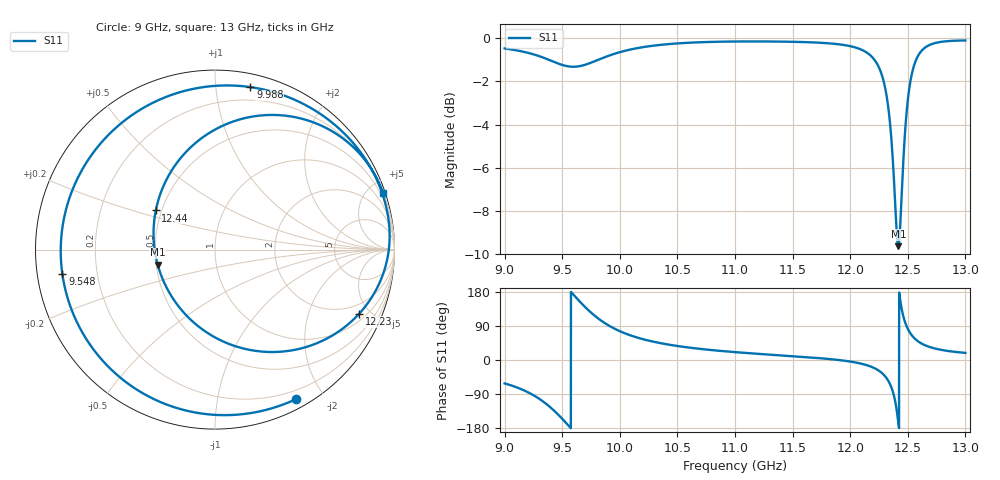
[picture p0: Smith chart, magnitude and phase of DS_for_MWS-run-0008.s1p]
! TOUCHSTONE file generated by CST DESIGN STUDIO
! Date and time: Tue Feb  4 17:47:23 2025
! Project name: C:\Work\MatlabApps\UnitCellOptimizationMatlab\CST\unitcell.cst
! Tree item: Tasks\Sweep1\SPara1\S-Parameters
! Header version: 2024
! Port assignment regex: !\s*Touchstone port\s*([0-9]+)\s*=\s*(CST MWS port|CST DES external port|CST DES block port)\s*(.+)\s* \(\"(.*)\"\)(\s*mode\s*([0-9]+))?.*
! Touchstone port assignment:
! Touchstone port 1 = CST DES external port 1 ("")
# GHz S MA R 50
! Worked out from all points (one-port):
!   4001 points, 9 GHz to 13 GHz, reference 50 ohm
!   lowest |S11| = -9.6 dB at 12.42 GHz (marker M1), VSWR 1.99, Z = 25.5 - j4.82 ohm
!   |S11| at or under -10 dB: nowhere
!   S11 on the Smith chart (normalised r, x): 9 GHz: 0.10, -1.67; 9.548 GHz: 0.07, -0.08; 9.988 GHz: 0.10, +1.24; 12.23 GHz: 1.36, -4.27; 12.44 GHz: 0.46, +0.24; 13 GHz: 0.22, +6.05
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9  0.9474 -61.7
9.155  0.9317 -78.4
9.305  0.9082 -103.3
9.404  0.8871 -126.6
9.5  0.8676 -155.1
9.548  0.8613 -170.9
9.641  0.8609 158.0
9.759  0.8798 122.8
9.86  0.902 99.3
9.988  0.9266 77.7
10  0.9286 76.1
10.215  0.9551 53.8
10.5  0.9729 36.9
11  0.9829 20.8
11.5  0.9814 10.2
12  0.9588 -4.1
12.227  0.8785 -24.1
12.296  0.7839 -40.5
12.352  0.6092 -68.0
12.385  0.4429 -100.8
12.418  0.3301 -165.2
12.44  0.3954 146.5
12.47  0.5717 105.8
12.5  0.7186 82.3
12.567  0.8846 54.6
12.652  0.9524 38.6
12.782  0.9804 27.2
13  0.9884 18.8
